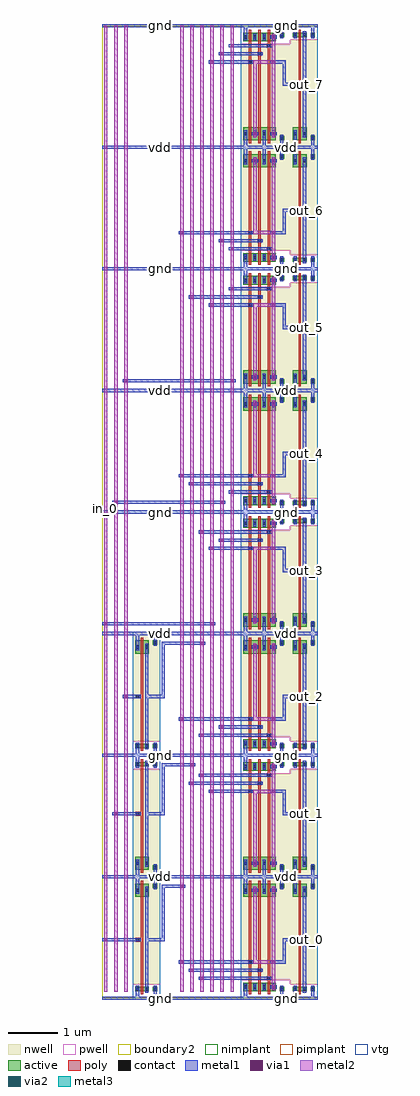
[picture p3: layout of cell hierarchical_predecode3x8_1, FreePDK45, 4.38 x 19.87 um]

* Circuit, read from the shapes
.subckt hierarchical_predecode3x8_1 gnd in_0 in_1 in_2 out_0 out_1 out_2 out_3 out_4 out_5 out_6 out_7 vdd
M1 pnand3_1_11/A in_0 gnd gnd nfet w=0.09u l=0.05u
M2 pnand3_1_11/B in_1 gnd gnd nfet w=0.09u l=0.05u
M3 pnand3_1_11/C in_2 gnd gnd nfet w=0.09u l=0.05u
M4 pnand3_1_11/nmos_m1_w0_180_a_p_3/D pnand3_1_11/A gnd gnd nfet w=0.18u l=0.05u
M5 pnand3_1_12/nmos_m1_w0_180_a_p_3/D in_0 gnd gnd nfet w=0.18u l=0.05u
M6 pnand3_1_13/nmos_m1_w0_180_a_p_3/D pnand3_1_11/A gnd gnd nfet w=0.18u l=0.05u
M7 pnand3_1_14/nmos_m1_w0_180_a_p_3/D in_0 gnd gnd nfet w=0.18u l=0.05u
M8 pnand3_1_15/nmos_m1_w0_180_a_p_3/D pnand3_1_11/A gnd gnd nfet w=0.18u l=0.05u
M9 pnand3_1_16/nmos_m1_w0_180_a_p_3/D in_0 gnd gnd nfet w=0.18u l=0.05u
M10 pnand3_1_17/nmos_m1_w0_180_a_p_3/D pnand3_1_11/A gnd gnd nfet w=0.18u l=0.05u
M11 pnand3_1_18/nmos_m1_w0_180_a_p_3/D in_0 gnd gnd nfet w=0.18u l=0.05u
M12 pnand3_1_11/nmos_m1_w0_180_a_p_4/D pnand3_1_11/B pnand3_1_11/nmos_m1_w0_180_a_p_3/D gnd nfet w=0.18u l=0.05u
M13 pnand3_1_12/nmos_m1_w0_180_a_p_4/D pnand3_1_11/B pnand3_1_12/nmos_m1_w0_180_a_p_3/D gnd nfet w=0.18u l=0.05u
M14 pnand3_1_13/nmos_m1_w0_180_a_p_4/D in_1 pnand3_1_13/nmos_m1_w0_180_a_p_3/D gnd nfet w=0.18u l=0.05u
M15 pnand3_1_14/nmos_m1_w0_180_a_p_4/D in_1 pnand3_1_14/nmos_m1_w0_180_a_p_3/D gnd nfet w=0.18u l=0.05u
M16 pnand3_1_15/nmos_m1_w0_180_a_p_4/D pnand3_1_11/B pnand3_1_15/nmos_m1_w0_180_a_p_3/D gnd nfet w=0.18u l=0.05u
M17 pnand3_1_16/nmos_m1_w0_180_a_p_4/D pnand3_1_11/B pnand3_1_16/nmos_m1_w0_180_a_p_3/D gnd nfet w=0.18u l=0.05u
M18 pnand3_1_17/nmos_m1_w0_180_a_p_4/D in_1 pnand3_1_17/nmos_m1_w0_180_a_p_3/D gnd nfet w=0.18u l=0.05u
M19 pnand3_1_18/nmos_m1_w0_180_a_p_4/D in_1 pnand3_1_18/nmos_m1_w0_180_a_p_3/D gnd nfet w=0.18u l=0.05u
M20 pinv_5_3/A pnand3_1_11/C pnand3_1_11/nmos_m1_w0_180_a_p_4/D gnd nfet w=0.18u l=0.05u
M21 pinv_5_4/A pnand3_1_11/C pnand3_1_12/nmos_m1_w0_180_a_p_4/D gnd nfet w=0.18u l=0.05u
M22 pinv_5_5/A pnand3_1_11/C pnand3_1_13/nmos_m1_w0_180_a_p_4/D gnd nfet w=0.18u l=0.05u
M23 pinv_5_6/A pnand3_1_11/C pnand3_1_14/nmos_m1_w0_180_a_p_4/D gnd nfet w=0.18u l=0.05u
M24 pinv_5_7/A in_2 pnand3_1_15/nmos_m1_w0_180_a_p_4/D gnd nfet w=0.18u l=0.05u
M25 pinv_5_8/A in_2 pnand3_1_16/nmos_m1_w0_180_a_p_4/D gnd nfet w=0.18u l=0.05u
M26 pinv_5_9/A in_2 pnand3_1_17/nmos_m1_w0_180_a_p_4/D gnd nfet w=0.18u l=0.05u
M27 pinv_5_10/A in_2 pnand3_1_18/nmos_m1_w0_180_a_p_4/D gnd nfet w=0.18u l=0.05u
M28 out_0 pinv_5_3/A gnd gnd nfet w=0.09u l=0.05u
M29 out_1 pinv_5_4/A gnd gnd nfet w=0.09u l=0.05u
M30 out_2 pinv_5_5/A gnd gnd nfet w=0.09u l=0.05u
M31 out_3 pinv_5_6/A gnd gnd nfet w=0.09u l=0.05u
M32 out_4 pinv_5_7/A gnd gnd nfet w=0.09u l=0.05u
M33 out_5 pinv_5_8/A gnd gnd nfet w=0.09u l=0.05u
M34 out_6 pinv_5_9/A gnd gnd nfet w=0.09u l=0.05u
M35 out_7 pinv_5_10/A gnd gnd nfet w=0.09u l=0.05u
M36 pnand3_1_11/A in_0 vdd vdd pfet w=0.27u l=0.05u
M37 pnand3_1_11/B in_1 vdd vdd pfet w=0.27u l=0.05u
M38 pnand3_1_11/C in_2 vdd vdd pfet w=0.27u l=0.05u
M39 pinv_5_3/A pnand3_1_11/A vdd vdd pfet w=0.27u l=0.05u
M40 pinv_5_4/A in_0 vdd vdd pfet w=0.27u l=0.05u
M41 pinv_5_5/A pnand3_1_11/A vdd vdd pfet w=0.27u l=0.05u
M42 pinv_5_6/A in_0 vdd vdd pfet w=0.27u l=0.05u
M43 pinv_5_7/A pnand3_1_11/A vdd vdd pfet w=0.27u l=0.05u
M44 pinv_5_8/A in_0 vdd vdd pfet w=0.27u l=0.05u
M45 pinv_5_9/A pnand3_1_11/A vdd vdd pfet w=0.27u l=0.05u
M46 pinv_5_10/A in_0 vdd vdd pfet w=0.27u l=0.05u
M47 vdd pnand3_1_11/B pinv_5_3/A vdd pfet w=0.27u l=0.05u
M48 vdd pnand3_1_11/B pinv_5_4/A vdd pfet w=0.27u l=0.05u
M49 vdd in_1 pinv_5_5/A vdd pfet w=0.27u l=0.05u
M50 vdd in_1 pinv_5_6/A vdd pfet w=0.27u l=0.05u
M51 vdd pnand3_1_11/B pinv_5_7/A vdd pfet w=0.27u l=0.05u
M52 vdd pnand3_1_11/B pinv_5_8/A vdd pfet w=0.27u l=0.05u
M53 vdd in_1 pinv_5_9/A vdd pfet w=0.27u l=0.05u
M54 vdd in_1 pinv_5_10/A vdd pfet w=0.27u l=0.05u
M55 pinv_5_3/A pnand3_1_11/C vdd vdd pfet w=0.27u l=0.05u
M56 pinv_5_4/A pnand3_1_11/C vdd vdd pfet w=0.27u l=0.05u
M57 pinv_5_5/A pnand3_1_11/C vdd vdd pfet w=0.27u l=0.05u
M58 pinv_5_6/A pnand3_1_11/C vdd vdd pfet w=0.27u l=0.05u
M59 pinv_5_7/A in_2 vdd vdd pfet w=0.27u l=0.05u
M60 pinv_5_8/A in_2 vdd vdd pfet w=0.27u l=0.05u
M61 pinv_5_9/A in_2 vdd vdd pfet w=0.27u l=0.05u
M62 pinv_5_10/A in_2 vdd vdd pfet w=0.27u l=0.05u
M63 out_0 pinv_5_3/A vdd vdd pfet w=0.27u l=0.05u
M64 out_1 pinv_5_4/A vdd vdd pfet w=0.27u l=0.05u
M65 out_2 pinv_5_5/A vdd vdd pfet w=0.27u l=0.05u
M66 out_3 pinv_5_6/A vdd vdd pfet w=0.27u l=0.05u
M67 out_4 pinv_5_7/A vdd vdd pfet w=0.27u l=0.05u
M68 out_5 pinv_5_8/A vdd vdd pfet w=0.27u l=0.05u
M69 out_6 pinv_5_9/A vdd vdd pfet w=0.27u l=0.05u
M70 out_7 pinv_5_10/A vdd vdd pfet w=0.27u l=0.05u
.ends

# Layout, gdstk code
import gdstk
lib = gdstk.Library(unit=1e-6, precision=5e-10)
def R(c, l, rs):  # rectangles x0, y0, x1, y1
    for r in rs: c.add(gdstk.rectangle(r[:2], r[2:], *l))
def A(c, l, x, y, w, h, nx, ny, dx, dy):  # array of equal rectangles
    R(c, l, [(x+i*dx, y+j*dy, x+i*dx+w, y+j*dy+h) for i in range(nx) for j in range(ny)])
active = (1, 0)
pwell = (2, 0)
nwell = (3, 0)
nimplant = (4, 0)
pimplant = (5, 0)
vtg = (6, 0)
poly = (9, 0)
contact = (10, 0)
metal1 = (11, 0)
via1 = (12, 0)
metal2 = (13, 0)
via2 = (14, 0)
metal3 = (15, 0)
boundary2 = (239, 0)

contact_9 = lib.new_cell('contact_9')
R(contact_9, active, [(0,0.0225,0.09,0.1125)])
R(contact_9, nwell, [(-0.055,-0.0325,0.145,0.1675)])
R(contact_9, pimplant, [(0,0.0225,0.09,0.1125)])
R(contact_9, contact, [(0.0125,0.035,0.0775,0.1)])
R(contact_9, metal1, [(0.0125,0,0.0775,0.135)])

pmos_m1_w0_270_a_p = lib.new_cell('pmos_m1_w0_270_a_p')
R(pmos_m1_w0_270_a_p, active, [(0,0,0.28,0.27)])
R(pmos_m1_w0_270_a_p, nwell, [(-0.055,-0.055,0.335,0.325)])
R(pmos_m1_w0_270_a_p, pimplant, [(0,0,0.28,0.27)])
R(pmos_m1_w0_270_a_p, vtg, [(-0.055,-0.055,0.335,0.325)])
R(pmos_m1_w0_270_a_p, poly, [(0.115,-0.055,0.165,0.325), (0.115,-0.055,0.165,0.325)])
R(pmos_m1_w0_270_a_p, metal1, [(0.0125,0.0675,0.0775,0.2025), (0.2025,0.0675,0.2675,0.2025)])
pmos_m1_w0_270_a_p.add(gdstk.Reference(contact_9, (0,0.0675)))
pmos_m1_w0_270_a_p.add(gdstk.Reference(contact_9, (0.19,0.0675)))
pmos_m1_w0_270_a_p.add(gdstk.Label('G', (0.14,0.135), layer=9, texttype=0))
pmos_m1_w0_270_a_p.add(gdstk.Label('S', (0.045,0.135), layer=11, texttype=0))
pmos_m1_w0_270_a_p.add(gdstk.Label('D', (0.235,0.135), layer=11, texttype=0))

contact_14 = lib.new_cell('contact_14')
R(contact_14, active, [(0,0.0225,0.09,0.1125)])
R(contact_14, pwell, [(-0.055,-0.0325,0.145,0.1675)])
R(contact_14, nimplant, [(0,0.0225,0.09,0.1125)])
R(contact_14, contact, [(0.0125,0.035,0.0775,0.1)])
R(contact_14, metal1, [(0.0125,0,0.0775,0.135)])

nmos_m1_w0_090_a_p = lib.new_cell('nmos_m1_w0_090_a_p')
R(nmos_m1_w0_090_a_p, active, [(0,0,0.28,0.09)])
R(nmos_m1_w0_090_a_p, pwell, [(-0.055,-0.055,0.335,0.145)])
R(nmos_m1_w0_090_a_p, nimplant, [(0,0,0.28,0.09)])
R(nmos_m1_w0_090_a_p, vtg, [(-0.055,-0.055,0.335,0.145)])
R(nmos_m1_w0_090_a_p, poly, [(0.115,-0.055,0.165,0.145), (0.115,-0.055,0.165,0.145)])
R(nmos_m1_w0_090_a_p, metal1, [(0.0125,-0.0225,0.0775,0.1125), (0.2025,-0.0225,0.2675,0.1125)])
nmos_m1_w0_090_a_p.add(gdstk.Reference(contact_14, (0,-0.0225)))
nmos_m1_w0_090_a_p.add(gdstk.Reference(contact_14, (0.19,-0.0225)))
nmos_m1_w0_090_a_p.add(gdstk.Label('G', (0.14,0.045), layer=9, texttype=0))
nmos_m1_w0_090_a_p.add(gdstk.Label('S', (0.045,0.045), layer=11, texttype=0))
nmos_m1_w0_090_a_p.add(gdstk.Label('D', (0.235,0.045), layer=11, texttype=0))

contact_18 = lib.new_cell('contact_18')
R(contact_18, active, [(0,0.0225,0.09,0.1125)])
R(contact_18, nwell, [(-0.055,-0.0325,0.145,0.1675)])
R(contact_18, nimplant, [(0,0.0225,0.09,0.1125)])
R(contact_18, contact, [(0.0125,0.035,0.0775,0.1)])
R(contact_18, metal1, [(0.0125,0,0.0775,0.135)])

contact_19 = lib.new_cell('contact_19')
R(contact_19, active, [(0,0.0225,0.09,0.1125)])
R(contact_19, pwell, [(-0.055,-0.0325,0.145,0.1675)])
R(contact_19, pimplant, [(0,0.0225,0.09,0.1125)])
R(contact_19, contact, [(0.0125,0.035,0.0775,0.1)])
R(contact_19, metal1, [(0.0125,0,0.0775,0.135)])

contact_10 = lib.new_cell('contact_10')
R(contact_10, poly, [(0.03,0,0.105,0.075)])
R(contact_10, contact, [(0.035,0.005,0.1,0.07)])
R(contact_10, metal1, [(0,0.005,0.135,0.07)])

pinv_5 = lib.new_cell('pinv_5')
R(pinv_5, pwell, [(0,-0.0325,0.56,0.285)])
R(pinv_5, nwell, [(0,0.285,0.56,2.5075)])
R(pinv_5, vtg, [(0,-0.0325,0.56,0.285), (0,0.285,0.56,2.5075)])
R(pinv_5, poly, [(0.17,0.085,0.22,2.01), (0.1025,1.155,0.17,1.23)])
R(pinv_5, metal1, [(0,-0.0325,0.56,0.0325), (0.0675,-0.0325,0.1325,0.1175), (0.4275,0,0.4925,0.185), (0.2575,0.1175,0.3225,2.2675), (0.035,1.16,0.17,1.225), (0.29,1.16,0.355,1.225), (0.0675,2.1325,0.1325,2.5075), (0.4275,2.29,0.4925,2.475), (0,2.4425,0.56,2.5075)])
R(pinv_5, boundary2, [(0,0,0.56,2.475)])
pinv_5.add(gdstk.Reference(pmos_m1_w0_270_a_p, (0.055,2.065)))
pinv_5.add(gdstk.Reference(nmos_m1_w0_090_a_p, (0.055,0.14)))
pinv_5.add(gdstk.Reference(contact_18, (0.415,2.2225)))
pinv_5.add(gdstk.Reference(contact_19, (0.415,0.1175)))
pinv_5.add(gdstk.Reference(contact_10, (0.035,1.155)))
pinv_5.add(gdstk.Label('gnd', (0.28,0), layer=11, texttype=0))
pinv_5.add(gdstk.Label('vdd', (0.28,2.475), layer=11, texttype=0))
pinv_5.add(gdstk.Label('A', (0.1025,1.1925), layer=11, texttype=0))
pinv_5.add(gdstk.Label('Z', (0.3225,1.1925), layer=11, texttype=0))

nmos_m1_w0_180_a_p = lib.new_cell('nmos_m1_w0_180_a_p')
R(nmos_m1_w0_180_a_p, active, [(0,0,0.28,0.18)])
R(nmos_m1_w0_180_a_p, pwell, [(-0.055,-0.055,0.335,0.235)])
R(nmos_m1_w0_180_a_p, nimplant, [(0,0,0.28,0.18)])
R(nmos_m1_w0_180_a_p, vtg, [(-0.055,-0.055,0.335,0.235)])
R(nmos_m1_w0_180_a_p, poly, [(0.115,-0.055,0.165,0.235), (0.115,-0.055,0.165,0.235)])
R(nmos_m1_w0_180_a_p, metal1, [(0.0125,0.0225,0.0775,0.1575), (0.2025,0.0225,0.2675,0.1575)])
nmos_m1_w0_180_a_p.add(gdstk.Reference(contact_14, (0,0.0225)))
nmos_m1_w0_180_a_p.add(gdstk.Reference(contact_14, (0.19,0.0225)))
nmos_m1_w0_180_a_p.add(gdstk.Label('G', (0.14,0.09), layer=9, texttype=0))
nmos_m1_w0_180_a_p.add(gdstk.Label('S', (0.045,0.09), layer=11, texttype=0))
nmos_m1_w0_180_a_p.add(gdstk.Label('D', (0.235,0.09), layer=11, texttype=0))

contact_16 = lib.new_cell('contact_16')
R(contact_16, metal1, [(0,0.035,0.135,0.1)])
R(contact_16, via1, [(0.035,0.035,0.1,0.1)])
R(contact_16, metal2, [(0.0325,0,0.1025,0.135)])

pnand3_1 = lib.new_cell('pnand3_1')
R(pnand3_1, pwell, [(0,-0.0325,1.01,0.375)])
R(pnand3_1, nwell, [(0,0.375,1.01,2.5075)])
R(pnand3_1, vtg, [(0,-0.0325,1.01,0.375), (0,0.375,1.01,2.5075)])
A(pnand3_1, poly, 0.17, 0.085, 0.05, 1.925, 3, 1, 0.19, 0)
R(pnand3_1, poly, [(0.55,0.37,0.575,0.445), (0.36,0.535,0.385,0.61), (0.17,0.7,0.195,0.775)])
R(pnand3_1, metal1, [(0,-0.0325,1.01,0.0325), (0.0675,-0.0325,0.1325,0.1625), (0.8075,0,0.8725,0.185), (0.5075,0.375,0.6425,0.44), (0.3175,0.54,0.4525,0.605), (0.1275,0.705,0.2625,0.77), (0.6025,0.705,0.7375,0.77), (0.0675,2.1325,0.1325,2.5075), (0.4475,2.1325,0.5125,2.5075), (0.8075,2.29,0.8725,2.475), (0,2.4425,1.01,2.5075)])
R(pnand3_1, metal2, [(0.635,0.2975,0.705,2.1325), (0.635,0.2975,0.705,0.7375), (0.255,0.7025,0.325,0.7725), (0.29,0.7025,0.67,0.7725), (0.635,0.7025,0.705,0.7725), (0.255,0.7375,0.325,2.1325)])
R(pnand3_1, boundary2, [(0,0,1.01,2.475)])
pnand3_1.add(gdstk.Reference(pmos_m1_w0_270_a_p, (0.055,2.065)))
pnand3_1.add(gdstk.Reference(pmos_m1_w0_270_a_p, (0.245,2.065)))
pnand3_1.add(gdstk.Reference(pmos_m1_w0_270_a_p, (0.435,2.065)))
pnand3_1.add(gdstk.Reference(nmos_m1_w0_180_a_p, (0.055,0.14)))
pnand3_1.add(gdstk.Reference(nmos_m1_w0_180_a_p, (0.245,0.14)))
pnand3_1.add(gdstk.Reference(nmos_m1_w0_180_a_p, (0.435,0.14)))
pnand3_1.add(gdstk.Reference(contact_18, (0.795,2.2225)))
pnand3_1.add(gdstk.Reference(contact_19, (0.795,0.1175)))
pnand3_1.add(gdstk.Reference(contact_10, (0.5075,0.37)))
pnand3_1.add(gdstk.Reference(contact_10, (0.3175,0.535)))
pnand3_1.add(gdstk.Reference(contact_10, (0.1275,0.7)))
pnand3_1.add(gdstk.Reference(contact_16, (0.2225,2.1325)))
pnand3_1.add(gdstk.Reference(contact_16, (0.6025,2.1325)))
pnand3_1.add(gdstk.Reference(contact_16, (0.6025,0.1625)))
pnand3_1.add(gdstk.Reference(contact_16, (0.6025,0.67)))
pnand3_1.add(gdstk.Label('gnd', (0.505,0), layer=11, texttype=0))
pnand3_1.add(gdstk.Label('vdd', (0.505,2.475), layer=11, texttype=0))
pnand3_1.add(gdstk.Label('C', (0.575,0.4075), layer=11, texttype=0))
pnand3_1.add(gdstk.Label('B', (0.385,0.5725), layer=11, texttype=0))
pnand3_1.add(gdstk.Label('A', (0.195,0.7375), layer=11, texttype=0))
pnand3_1.add(gdstk.Label('Z', (0.67,0.7375), layer=11, texttype=0))

contact_5 = lib.new_cell('contact_5')
R(contact_5, metal1, [(0,0.0025,0.135,0.0675)])
R(contact_5, via1, [(0.035,0.0025,0.1,0.0675)])
R(contact_5, metal2, [(0,0,0.135,0.07)])

contact_6 = lib.new_cell('contact_6')
R(contact_6, metal2, [(0,0,0.135,0.07)])
R(contact_6, via2, [(0.035,0.0025,0.1,0.0675)])
R(contact_6, metal3, [(0,0,0.135,0.07)])

hierarchical_predecode3x = lib.new_cell('hierarchical_predecode3x8_1')
A(hierarchical_predecode3x, metal1, 1.62, 0.705, 1.3225, 0.065, 1, 4, 0, 4.95)
A(hierarchical_predecode3x, metal1, 2.235, 4.18, 0.7075, 0.065, 1, 4, 0, 4.95)
R(hierarchical_predecode3x, metal1, [(0,-0.0325,4.385,0.0325), (2.03,0.375,3.3225,0.44), (1.825,0.54,3.1325,0.605), (3.5525,0.705,3.705,0.77), (3.6725,0.705,3.7375,0.77), (3.6725,0.7375,3.7375,1.1925), (0.07,1.16,0.65,1.225), (0.97,1.16,1.24,1.225), (1.2075,1.16,1.2725,1.225), (3.6725,1.16,3.7375,1.225), (3.705,1.16,3.86,1.225), (4.115,1.16,4.18,1.225), (1.2075,1.1925,1.2725,2.28), (1.2075,2.2475,1.2725,2.3125), (1.24,2.2475,1.62,2.3125), (0,2.4425,4.385,2.5075), (0,2.4425,4.385,2.5075), (0.275,3.725,0.65,3.79), (0.97,3.725,1.24,3.79), (1.2075,3.725,1.2725,3.79), (3.6725,3.725,3.7375,3.79), (3.705,3.725,3.86,3.79), (4.115,3.725,4.18,3.79), (1.2075,3.7575,1.2725,4.755), (3.6725,3.7575,3.7375,4.2125), (3.5525,4.18,3.705,4.245), (3.6725,4.18,3.7375,4.245), (1.825,4.345,3.1325,4.41), (2.03,4.51,3.3225,4.575), (1.2075,4.7225,1.2725,4.7875), (1.24,4.7225,1.825,4.7875), (0,4.9175,4.385,4.9825), (0,4.9175,4.385,4.9825), (2.03,5.325,3.3225,5.39), (2.44,5.49,3.1325,5.555), (3.5525,5.655,3.705,5.72), (3.6725,5.655,3.7375,5.72), (3.6725,5.6875,3.7375,6.1425), (0.48,6.11,0.65,6.175), (0.97,6.11,1.24,6.175), (1.2075,6.11,1.2725,6.175), (3.6725,6.11,3.7375,6.175), (3.705,6.11,3.86,6.175), (4.115,6.11,4.18,6.175), (1.2075,6.1425,1.2725,7.23), (1.2075,7.1975,1.2725,7.2625), (1.24,7.1975,2.03,7.2625), (0,7.3925,4.385,7.4575), (0,7.3925,4.385,7.4575), (0.07,7.5925,2.235,7.6575), (3.6725,8.675,3.7375,8.74), (3.705,8.675,3.86,8.74), (4.115,8.675,4.18,8.74), (3.6725,8.7075,3.7375,9.1625), (3.5525,9.13,3.705,9.195), (3.6725,9.13,3.7375,9.195), (2.44,9.295,3.1325,9.36), (2.03,9.46,3.3225,9.525), (0,9.8675,4.385,9.9325), (0,9.8675,4.385,9.9325), (0.275,10.0675,2.44,10.1325), (2.645,10.275,3.3225,10.34), (1.825,10.44,3.1325,10.505), (3.5525,10.605,3.705,10.67), (3.6725,10.605,3.7375,10.67), (3.6725,10.6375,3.7375,11.0925), (3.6725,11.06,3.7375,11.125), (3.705,11.06,3.86,11.125), (4.115,11.06,4.18,11.125), (0,12.3425,4.385,12.4075), (0,12.3425,4.385,12.4075), (0.48,12.5425,2.645,12.6075), (3.6725,13.625,3.7375,13.69), (3.705,13.625,3.86,13.69), (4.115,13.625,4.18,13.69), (3.6725,13.6575,3.7375,14.1125), (3.5525,14.08,3.705,14.145), (3.6725,14.08,3.7375,14.145), (1.825,14.245,3.1325,14.31), (2.645,14.41,3.3225,14.475), (0,14.8175,4.385,14.8825), (0,14.8175,4.385,14.8825), (2.645,15.225,3.3225,15.29), (2.44,15.39,3.1325,15.455), (3.5525,15.555,3.705,15.62), (3.6725,15.555,3.7375,15.62), (3.6725,15.5875,3.7375,16.0425), (3.6725,16.01,3.7375,16.075), (3.705,16.01,3.86,16.075), (4.115,16.01,4.18,16.075), (0,17.2925,4.385,17.3575), (0,17.2925,4.385,17.3575), (3.6725,18.575,3.7375,18.64), (3.705,18.575,3.86,18.64), (4.115,18.575,4.18,18.64), (3.6725,18.6075,3.7375,19.0625), (3.5525,19.03,3.705,19.095), (3.6725,19.03,3.7375,19.095), (2.44,19.195,3.1325,19.26), (2.645,19.36,3.3225,19.425), (0,19.7675,4.385,19.8325)])
A(hierarchical_predecode3x, metal2, 0.035, 0.13, 0.07, 19.67, 3, 1, 0.205, 0)
A(hierarchical_predecode3x, metal2, 1.585, 0.13, 0.07, 19.67, 6, 1, 0.205, 0)
A(hierarchical_predecode3x, metal3, 1.1075, -0.035, 0.135, 0.07, 1, 9, 0, 2.475)
A(hierarchical_predecode3x, metal3, 3.6925, -0.035, 0.135, 0.07, 1, 9, 0, 2.475)
R(hierarchical_predecode3x, boundary2, [(0,0,4.385,19.8)])
hierarchical_predecode3x.add(gdstk.Reference(pinv_5, (0.615,0)))
hierarchical_predecode3x.add(gdstk.Reference(pinv_5, (0.615,4.95), x_reflection=True))
hierarchical_predecode3x.add(gdstk.Reference(pinv_5, (0.615,4.95)))
hierarchical_predecode3x.add(gdstk.Reference(pinv_5, (3.825,0)))
hierarchical_predecode3x.add(gdstk.Reference(pinv_5, (3.825,4.95), x_reflection=True))
hierarchical_predecode3x.add(gdstk.Reference(pinv_5, (3.825,4.95)))
hierarchical_predecode3x.add(gdstk.Reference(pinv_5, (3.825,9.9), x_reflection=True))
hierarchical_predecode3x.add(gdstk.Reference(pinv_5, (3.825,9.9)))
hierarchical_predecode3x.add(gdstk.Reference(pinv_5, (3.825,14.85), x_reflection=True))
hierarchical_predecode3x.add(gdstk.Reference(pinv_5, (3.825,14.85)))
hierarchical_predecode3x.add(gdstk.Reference(pinv_5, (3.825,19.8), x_reflection=True))
hierarchical_predecode3x.add(gdstk.Reference(pnand3_1, (2.815,0)))
hierarchical_predecode3x.add(gdstk.Reference(pnand3_1, (2.815,4.95), x_reflection=True))
hierarchical_predecode3x.add(gdstk.Reference(pnand3_1, (2.815,4.95)))
hierarchical_predecode3x.add(gdstk.Reference(pnand3_1, (2.815,9.9), x_reflection=True))
hierarchical_predecode3x.add(gdstk.Reference(pnand3_1, (2.815,9.9)))
hierarchical_predecode3x.add(gdstk.Reference(pnand3_1, (2.815,14.85), x_reflection=True))
hierarchical_predecode3x.add(gdstk.Reference(pnand3_1, (2.815,14.85)))
hierarchical_predecode3x.add(gdstk.Reference(pnand3_1, (2.815,19.8), x_reflection=True))
hierarchical_predecode3x.add(gdstk.Reference(contact_16, (1.5525,2.2125)))
hierarchical_predecode3x.add(gdstk.Reference(contact_16, (0.0025,1.125)))
hierarchical_predecode3x.add(gdstk.Reference(contact_16, (1.7575,4.6875)))
hierarchical_predecode3x.add(gdstk.Reference(contact_16, (0.2075,3.69)))
hierarchical_predecode3x.add(gdstk.Reference(contact_16, (1.9625,7.1625)))
hierarchical_predecode3x.add(gdstk.Reference(contact_16, (0.4125,6.075)))
hierarchical_predecode3x.add(gdstk.Reference(contact_16, (0.0025,7.5575)))
hierarchical_predecode3x.add(gdstk.Reference(contact_16, (2.1675,7.5575)))
hierarchical_predecode3x.add(gdstk.Reference(contact_16, (0.2075,10.0325)))
hierarchical_predecode3x.add(gdstk.Reference(contact_16, (2.3725,10.0325)))
hierarchical_predecode3x.add(gdstk.Reference(contact_16, (0.4125,12.5075)))
hierarchical_predecode3x.add(gdstk.Reference(contact_16, (2.5775,12.5075)))
hierarchical_predecode3x.add(gdstk.Reference(contact_16, (1.5525,0.67)))
hierarchical_predecode3x.add(gdstk.Reference(contact_16, (1.7575,0.505)))
hierarchical_predecode3x.add(gdstk.Reference(contact_16, (1.9625,0.34)))
hierarchical_predecode3x.add(gdstk.Reference(contact_16, (2.1675,4.145)))
hierarchical_predecode3x.add(gdstk.Reference(contact_16, (1.7575,4.31)))
hierarchical_predecode3x.add(gdstk.Reference(contact_16, (1.9625,4.475)))
hierarchical_predecode3x.add(gdstk.Reference(contact_16, (1.5525,5.62)))
hierarchical_predecode3x.add(gdstk.Reference(contact_16, (2.3725,5.455)))
hierarchical_predecode3x.add(gdstk.Reference(contact_16, (1.9625,5.29)))
hierarchical_predecode3x.add(gdstk.Reference(contact_16, (2.1675,9.095)))
hierarchical_predecode3x.add(gdstk.Reference(contact_16, (2.3725,9.26)))
hierarchical_predecode3x.add(gdstk.Reference(contact_16, (1.9625,9.425)))
hierarchical_predecode3x.add(gdstk.Reference(contact_16, (1.5525,10.57)))
hierarchical_predecode3x.add(gdstk.Reference(contact_16, (1.7575,10.405)))
hierarchical_predecode3x.add(gdstk.Reference(contact_16, (2.5775,10.24)))
hierarchical_predecode3x.add(gdstk.Reference(contact_16, (2.1675,14.045)))
hierarchical_predecode3x.add(gdstk.Reference(contact_16, (1.7575,14.21)))
hierarchical_predecode3x.add(gdstk.Reference(contact_16, (2.5775,14.375)))
hierarchical_predecode3x.add(gdstk.Reference(contact_16, (1.5525,15.52)))
hierarchical_predecode3x.add(gdstk.Reference(contact_16, (2.3725,15.355)))
hierarchical_predecode3x.add(gdstk.Reference(contact_16, (2.5775,15.19)))
hierarchical_predecode3x.add(gdstk.Reference(contact_16, (2.1675,18.995)))
hierarchical_predecode3x.add(gdstk.Reference(contact_16, (2.3725,19.16)))
hierarchical_predecode3x.add(gdstk.Reference(contact_16, (2.5775,19.325)))
hierarchical_predecode3x.add(gdstk.Reference(contact_5, (1.1075,2.44)))
hierarchical_predecode3x.add(gdstk.Reference(contact_6, (1.1075,2.44)))
hierarchical_predecode3x.add(gdstk.Reference(contact_5, (3.6925,2.44)))
hierarchical_predecode3x.add(gdstk.Reference(contact_6, (3.6925,2.44)))
hierarchical_predecode3x.add(gdstk.Reference(contact_5, (1.1075,-0.035)))
hierarchical_predecode3x.add(gdstk.Reference(contact_6, (1.1075,-0.035)))
hierarchical_predecode3x.add(gdstk.Reference(contact_5, (3.6925,-0.035)))
hierarchical_predecode3x.add(gdstk.Reference(contact_6, (3.6925,-0.035)))
hierarchical_predecode3x.add(gdstk.Reference(contact_5, (1.1075,2.44)))
hierarchical_predecode3x.add(gdstk.Reference(contact_6, (1.1075,2.44)))
hierarchical_predecode3x.add(gdstk.Reference(contact_5, (3.6925,2.44)))
hierarchical_predecode3x.add(gdstk.Reference(contact_6, (3.6925,2.44)))
hierarchical_predecode3x.add(gdstk.Reference(contact_5, (1.1075,4.915)))
hierarchical_predecode3x.add(gdstk.Reference(contact_6, (1.1075,4.915)))
hierarchical_predecode3x.add(gdstk.Reference(contact_5, (3.6925,4.915)))
hierarchical_predecode3x.add(gdstk.Reference(contact_6, (3.6925,4.915)))
hierarchical_predecode3x.add(gdstk.Reference(contact_5, (1.1075,7.39)))
hierarchical_predecode3x.add(gdstk.Reference(contact_6, (1.1075,7.39)))
hierarchical_predecode3x.add(gdstk.Reference(contact_5, (3.6925,7.39)))
hierarchical_predecode3x.add(gdstk.Reference(contact_6, (3.6925,7.39)))
hierarchical_predecode3x.add(gdstk.Reference(contact_5, (1.1075,4.915)))
hierarchical_predecode3x.add(gdstk.Reference(contact_6, (1.1075,4.915)))
hierarchical_predecode3x.add(gdstk.Reference(contact_5, (3.6925,4.915)))
hierarchical_predecode3x.add(gdstk.Reference(contact_6, (3.6925,4.915)))
hierarchical_predecode3x.add(gdstk.Reference(contact_5, (1.1075,7.39)))
hierarchical_predecode3x.add(gdstk.Reference(contact_6, (1.1075,7.39)))
hierarchical_predecode3x.add(gdstk.Reference(contact_5, (3.6925,7.39)))
hierarchical_predecode3x.add(gdstk.Reference(contact_6, (3.6925,7.39)))
hierarchical_predecode3x.add(gdstk.Reference(contact_5, (1.1075,9.865)))
hierarchical_predecode3x.add(gdstk.Reference(contact_6, (1.1075,9.865)))
hierarchical_predecode3x.add(gdstk.Reference(contact_5, (3.6925,9.865)))
hierarchical_predecode3x.add(gdstk.Reference(contact_6, (3.6925,9.865)))
hierarchical_predecode3x.add(gdstk.Reference(contact_5, (1.1075,12.34)))
hierarchical_predecode3x.add(gdstk.Reference(contact_6, (1.1075,12.34)))
hierarchical_predecode3x.add(gdstk.Reference(contact_5, (3.6925,12.34)))
hierarchical_predecode3x.add(gdstk.Reference(contact_6, (3.6925,12.34)))
hierarchical_predecode3x.add(gdstk.Reference(contact_5, (1.1075,9.865)))
hierarchical_predecode3x.add(gdstk.Reference(contact_6, (1.1075,9.865)))
hierarchical_predecode3x.add(gdstk.Reference(contact_5, (3.6925,9.865)))
hierarchical_predecode3x.add(gdstk.Reference(contact_6, (3.6925,9.865)))
hierarchical_predecode3x.add(gdstk.Reference(contact_5, (1.1075,12.34)))
hierarchical_predecode3x.add(gdstk.Reference(contact_6, (1.1075,12.34)))
hierarchical_predecode3x.add(gdstk.Reference(contact_5, (3.6925,12.34)))
hierarchical_predecode3x.add(gdstk.Reference(contact_6, (3.6925,12.34)))
hierarchical_predecode3x.add(gdstk.Reference(contact_5, (1.1075,14.815)))
hierarchical_predecode3x.add(gdstk.Reference(contact_6, (1.1075,14.815)))
hierarchical_predecode3x.add(gdstk.Reference(contact_5, (3.6925,14.815)))
hierarchical_predecode3x.add(gdstk.Reference(contact_6, (3.6925,14.815)))
hierarchical_predecode3x.add(gdstk.Reference(contact_5, (1.1075,17.29)))
hierarchical_predecode3x.add(gdstk.Reference(contact_6, (1.1075,17.29)))
hierarchical_predecode3x.add(gdstk.Reference(contact_5, (3.6925,17.29)))
hierarchical_predecode3x.add(gdstk.Reference(contact_6, (3.6925,17.29)))
hierarchical_predecode3x.add(gdstk.Reference(contact_5, (1.1075,14.815)))
hierarchical_predecode3x.add(gdstk.Reference(contact_6, (1.1075,14.815)))
hierarchical_predecode3x.add(gdstk.Reference(contact_5, (3.6925,14.815)))
hierarchical_predecode3x.add(gdstk.Reference(contact_6, (3.6925,14.815)))
hierarchical_predecode3x.add(gdstk.Reference(contact_5, (1.1075,17.29)))
hierarchical_predecode3x.add(gdstk.Reference(contact_6, (1.1075,17.29)))
hierarchical_predecode3x.add(gdstk.Reference(contact_5, (3.6925,17.29)))
hierarchical_predecode3x.add(gdstk.Reference(contact_6, (3.6925,17.29)))
hierarchical_predecode3x.add(gdstk.Reference(contact_5, (1.1075,19.765)))
hierarchical_predecode3x.add(gdstk.Reference(contact_6, (1.1075,19.765)))
hierarchical_predecode3x.add(gdstk.Reference(contact_5, (3.6925,19.765)))
hierarchical_predecode3x.add(gdstk.Reference(contact_6, (3.6925,19.765)))
hierarchical_predecode3x.add(gdstk.Label('in_0', (0.07,9.965), layer=13, texttype=0))
hierarchical_predecode3x.add(gdstk.Label('in_1', (0.275,9.965), layer=13, texttype=0))
hierarchical_predecode3x.add(gdstk.Label('in_2', (0.48,9.965), layer=13, texttype=0))
hierarchical_predecode3x.add(gdstk.Label('out_0', (4.1475,1.1925), layer=11, texttype=0))
hierarchical_predecode3x.add(gdstk.Label('out_1', (4.1475,3.7575), layer=11, texttype=0))
hierarchical_predecode3x.add(gdstk.Label('out_2', (4.1475,6.1425), layer=11, texttype=0))
hierarchical_predecode3x.add(gdstk.Label('out_3', (4.1475,8.7075), layer=11, texttype=0))
hierarchical_predecode3x.add(gdstk.Label('out_4', (4.1475,11.0925), layer=11, texttype=0))
hierarchical_predecode3x.add(gdstk.Label('out_5', (4.1475,13.6575), layer=11, texttype=0))
hierarchical_predecode3x.add(gdstk.Label('out_6', (4.1475,16.0425), layer=11, texttype=0))
hierarchical_predecode3x.add(gdstk.Label('out_7', (4.1475,18.6075), layer=11, texttype=0))
hierarchical_predecode3x.add(gdstk.Label('vdd', (1.175,2.475), layer=15, texttype=0))
hierarchical_predecode3x.add(gdstk.Label('vdd', (3.76,12.375), layer=15, texttype=0))
hierarchical_predecode3x.add(gdstk.Label('vdd', (3.76,2.475), layer=15, texttype=0))
hierarchical_predecode3x.add(gdstk.Label('vdd', (1.175,7.425), layer=15, texttype=0))
hierarchical_predecode3x.add(gdstk.Label('vdd', (3.76,17.325), layer=15, texttype=0))
hierarchical_predecode3x.add(gdstk.Label('vdd', (1.175,12.375), layer=15, texttype=0))
hierarchical_predecode3x.add(gdstk.Label('vdd', (1.175,17.325), layer=15, texttype=0))
hierarchical_predecode3x.add(gdstk.Label('vdd', (3.76,7.425), layer=15, texttype=0))
hierarchical_predecode3x.add(gdstk.Label('gnd', (1.175,0), layer=15, texttype=0))
hierarchical_predecode3x.add(gdstk.Label('gnd', (3.76,4.95), layer=15, texttype=0))
hierarchical_predecode3x.add(gdstk.Label('gnd', (3.76,9.9), layer=15, texttype=0))
hierarchical_predecode3x.add(gdstk.Label('gnd', (1.175,4.95), layer=15, texttype=0))
hierarchical_predecode3x.add(gdstk.Label('gnd', (3.76,14.85), layer=15, texttype=0))
hierarchical_predecode3x.add(gdstk.Label('gnd', (1.175,9.9), layer=15, texttype=0))
hierarchical_predecode3x.add(gdstk.Label('gnd', (1.175,14.85), layer=15, texttype=0))
hierarchical_predecode3x.add(gdstk.Label('gnd', (1.175,19.8), layer=15, texttype=0))
hierarchical_predecode3x.add(gdstk.Label('gnd', (3.76,0), layer=15, texttype=0))
hierarchical_predecode3x.add(gdstk.Label('gnd', (3.76,19.8), layer=15, texttype=0))

lib.write_gds('hierarchical_predecode3x8_1.gds')
